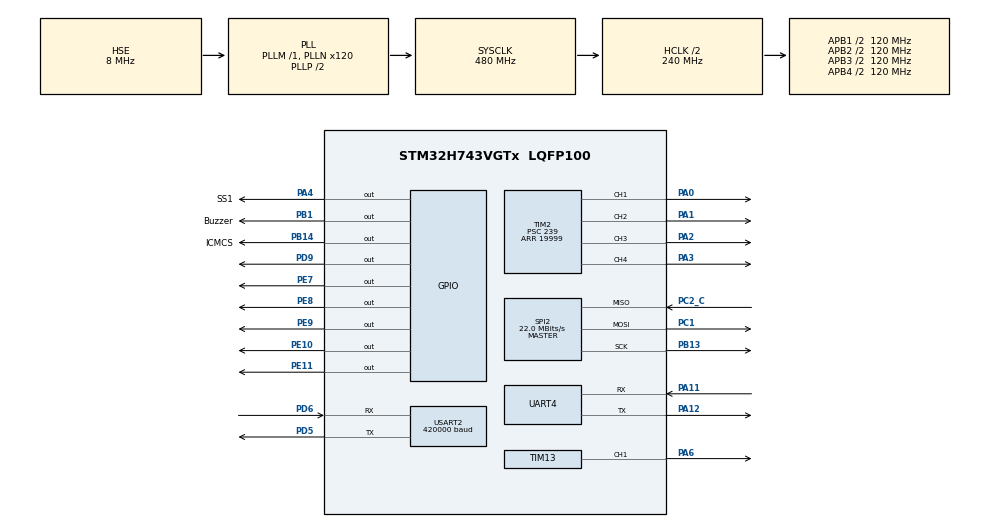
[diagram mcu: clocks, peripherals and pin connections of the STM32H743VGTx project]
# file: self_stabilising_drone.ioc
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CORTEX_M7.default_mode_Activation=1
Dma.Request0=USART2_RX
Dma.USART2_RX.0.Direction=DMA_PERIPH_TO_MEMORY
Dma.USART2_RX.0.EventEnable=DISABLE
Dma.USART2_RX.0.FIFOMode=DMA_FIFOMODE_DISABLE
Dma.USART2_RX.0.Instance=DMA1_Stream0
Dma.USART2_RX.0.MemDataAlignment=DMA_MDATAALIGN_BYTE
Dma.USART2_RX.0.MemInc=DMA_MINC_ENABLE
Dma.USART2_RX.0.Mode=DMA_CIRCULAR
Dma.USART2_RX.0.PeriphDataAlignment=DMA_PDATAALIGN_BYTE
Dma.USART2_RX.0.PeriphInc=DMA_PINC_DISABLE
Dma.USART2_RX.0.Polarity=HAL_DMAMUX_REQ_GEN_RISING
Dma.USART2_RX.0.Priority=DMA_PRIORITY_MEDIUM
Dma.USART2_RX.0.RequestNumber=1
Dma.USART2_RX.0.SignalID=NONE
Dma.USART2_RX.0.SyncEnable=DISABLE
Dma.USART2_RX.0.SyncPolarity=HAL_DMAMUX_SYNC_NO_EVENT
Dma.USART2_RX.0.SyncRequestNumber=1
Dma.USART2_RX.0.SyncSignalID=NONE
Mcu.Family=STM32H7
Mcu.Name=STM32H743VGTx
Mcu.Package=LQFP100
NVIC.DMA1_Stream0_IRQn=true\:0\:0\:false\:false\:true\:false\:true\:true
NVIC.PriorityGroup=NVIC_PRIORITYGROUP_4
NVIC.TIM17_IRQn=true\:15\:0\:false\:false\:true\:false\:true\:true
NVIC.TimeBase=TIM17_IRQn
NVIC.TimeBaseIP=TIM17
NVIC.USART2_IRQn=true\:0\:0\:false\:false\:true\:true\:true\:true
PA0.Signal=S_TIM2_CH1_ETR
PA1.Signal=S_TIM2_CH2
PA11.Mode=Asynchronous
PA11.Signal=UART4_RX
PA12.Mode=Asynchronous
PA12.Signal=UART4_TX
PA13\ (JTMS/SWDIO).Mode=Serial_Wire
PA13\ (JTMS/SWDIO).Signal=DEBUG_JTMS-SWDIO
PA14\ (JTCK/SWCLK).Mode=Serial_Wire
PA14\ (JTCK/SWCLK).Signal=DEBUG_JTCK-SWCLK
PA2.Signal=S_TIM2_CH3
PA3.Signal=S_TIM2_CH4
PA4.GPIO_Label=SS1
PA4.Signal=GPIO_Output
PA6.Signal=S_TIM13_CH1
PB1.GPIO_Label=Buzzer
PB1.Signal=GPIO_Output
PB13.Mode=Full_Duplex_Master
PB13.Signal=SPI2_SCK
PB14.GPIO_Label=ICMCS
PB14.Signal=GPIO_Output
PC1.Mode=Full_Duplex_Master
PC1.Signal=SPI2_MOSI
PC14-OSC32_IN\ (OSC32_IN).Mode=LSE-External-Oscillator
PC14-OSC32_IN\ (OSC32_IN).Signal=RCC_OSC32_IN
PC15-OSC32_OUT\ (OSC32_OUT).Mode=LSE-External-Oscillator
PC15-OSC32_OUT\ (OSC32_OUT).Signal=RCC_OSC32_OUT
PC2_C.Mode=Full_Duplex_Master
PC2_C.Signal=SPI2_MISO
PC7.Mode=External_Trigger_bidirectional
PC7.Signal=DEBUG_TRGIO
PD5.Mode=Asynchronous
PD5.Signal=USART2_TX
PD6.Mode=Asynchronous
PD6.Signal=USART2_RX
PD7.Signal=SPI1_MOSI
PD9.Signal=GPIO_Output
PE10.Signal=GPIO_Output
PE11.Signal=GPIO_Output
PE7.Signal=GPIO_Output
PE8.Signal=GPIO_Output
PE9.Signal=GPIO_Output
PH0-OSC_IN\ (PH0).Mode=HSE-External-Oscillator
PH0-OSC_IN\ (PH0).Signal=RCC_OSC_IN
PH1-OSC_OUT\ (PH1).Mode=HSE-External-Oscillator
PH1-OSC_OUT\ (PH1).Signal=RCC_OSC_OUT
ProjectManager.HeapSize=0x200
ProjectManager.StackSize=0x400
ProjectManager.TargetToolchain=STM32CubeIDE
RCC.ADCFreq_Value=176000000
RCC.APB1Freq_Value=120000000
RCC.APB2Freq_Value=120000000
RCC.APB3Freq_Value=120000000
RCC.APB4Freq_Value=120000000
RCC.CortexFreq_Value=480000000
RCC.D1PPRE=RCC_APB3_DIV2
RCC.D2PPRE1=RCC_APB1_DIV2
RCC.D2PPRE2=RCC_APB2_DIV2
RCC.D3PPRE=RCC_APB4_DIV2
RCC.DIVM1=1
RCC.DIVM2=1
RCC.DIVN1=120
RCC.DIVN2=22
RCC.DIVP2=1
RCC.HCLKFreq_Value=240000000
RCC.HPRE=RCC_HCLK_DIV2
RCC.HSE_VALUE=8000000
RCC.PLL1_VCI_Range-AdvancedSettings=RCC_PLL1VCIRANGE_0
RCC.PLL2FRACN=0
RCC.PLL3FRACN=0
RCC.PLLFRACN=0
RCC.PLLSourceVirtual=RCC_PLLSOURCE_HSE
RCC.PWR_Regulator_Voltage_Scale=PWR_REGULATOR_VOLTAGE_SCALE0
RCC.ProductRev=revV
RCC.SPI123CLockSelection=RCC_SPI123CLKSOURCE_PLL2
RCC.SYSCLKFreq_VALUE=480000000
RCC.SYSCLKSource=RCC_SYSCLKSOURCE_PLLCLK
RCC.USBFreq_Value=480000000
SH.S_TIM13_CH1.0=TIM13_CH1,PWM Generation1 CH1
SH.S_TIM2_CH1_ETR.0=TIM2_CH1,PWM Generation1 CH1
SH.S_TIM2_CH2.0=TIM2_CH2,PWM Generation2 CH2
SH.S_TIM2_CH3.0=TIM2_CH3,PWM Generation3 CH3
SH.S_TIM2_CH4.0=TIM2_CH4,PWM Generation4 CH4
SPI2.BaudRatePrescaler=SPI_BAUDRATEPRESCALER_8
SPI2.CLKPhase=SPI_PHASE_1EDGE
SPI2.CLKPolarity=SPI_POLARITY_LOW
SPI2.CalculateBaudRate=22.0 MBits/s
SPI2.DataSize=SPI_DATASIZE_8BIT
SPI2.Direction=SPI_DIRECTION_2LINES
SPI2.Mode=SPI_MODE_MASTER
SPI2.VirtualType=VM_MASTER
TIM13.Channel=TIM_CHANNEL_1
TIM2.AutoReloadPreload=TIM_AUTORELOAD_PRELOAD_ENABLE
TIM2.Channel-PWM\ Generation1\ CH1=TIM_CHANNEL_1
TIM2.Channel-PWM\ Generation2\ CH2=TIM_CHANNEL_2
TIM2.Channel-PWM\ Generation3\ CH3=TIM_CHANNEL_3
TIM2.Channel-PWM\ Generation4\ CH4=TIM_CHANNEL_4
TIM2.Period=19999
TIM2.Prescaler=239
TIM5.Period=40000
TIM5.Prescaler=240-1
USART2.BaudRate=420000
USART2.VirtualMode-Asynchronous=VM_ASYNC
VP_MEMORYMAP_VS_MEMORYMAP.Mode=CurAppReg
VP_SYS_VS_tim17.Mode=TIM17
VP_TIM13_VS_ClockSourceINT.Mode=Enable_Timer
VP_TIM2_VS_ClockSourceINT.Mode=Internal
VP_TIM5_VS_ClockSourceINT.Mode=Internal
VP_TIM7_VS_ClockSourceINT.Mode=Enable_Timer
board=custom

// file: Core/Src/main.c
/* USER CODE BEGIN Header */
/**
 ******************************************************************************
 * @file           : main.c
 * @brief          : Main program body
 ******************************************************************************
 * @attention
 *
 * Copyright (c) 2025 STMicroelectronics.
 * All rights reserved.
 *
 * This software is licensed under terms that can be found in the LICENSE file
 * in the root directory of this software component.
 * If no LICENSE file comes with this software, it is provided AS-IS.
 *
 ******************************************************************************
 */
/* USER CODE END Header */
#include "main.h"
#include "dma.h"
#include "spi.h"
#include "tim.h"
#include "usart.h"
#include "gpio.h"

/* USER CODE BEGIN Includes */
#include <stdio.h>
#include <string.h>
#include <stdint.h>

#include "filter.h"
#include "crsf.h"
#include "pid.h"
/* USER CODE END Includes */

/* USER CODE BEGIN PD */
#define DT_FALLBACK_SECONDS           0.004f
#define DT_MAX_SECONDS                0.02f
#define THROTTLE_ACTIVE_THRESHOLD_US  1050.0f
#define ARM_CHANNEL                   4        // CRSF channel 5 (0-based index)
#define LOOP_PERIOD_US                2000U    // 500 Hz
#define LOOP_DT_SECONDS 			  (LOOP_PERIOD_US * 1e-6f)
#define ESC_LOW                       1000U
#define ESC_HIGH                      2000U
#define CRSF_TIMEOUT_MS   			  500

#define MAX_RATE_DPS 500.0f
/* USER CODE END PD */

/* USER CODE BEGIN PV */
CRSF_t crsf;
uint8_t rxBuf[128];
icm_scaled_t imu;

PID_t pid_roll = { .kp = 0.1f, .ki = 0.06f, .kd = 0.005f, .integrator = 0.0f,
		.prev_error = 0.0f, .d_filter = 0.0f, .d_cutoff = 0.05f, // Low-pass smoothing factor (~50Hz)
		.out_limit = 400.0f, .i_limit = 200.0f };

PID_t pid_pitch = { .kp = 0.1f, .ki = 0.06f, .kd = 0.005f, .integrator = 0.0f,
		.prev_error = 0.0f, .d_filter = 0.0f, .d_cutoff = 0.05f, .out_limit =
				400.0f, .i_limit = 200.0f };

PID_t pid_yaw = { .kp = 0.05f, .ki = 0.01f, .kd = 0.0f, .integrator = 0.0f,
		.prev_error = 0.0f, .d_filter = 0.0f, .d_cutoff = 0.05f, .out_limit =
				400.0f, .i_limit = 200.0f };

static float gx_f = 0;
static float gy_f = 0;
static float gz_f = 0;
const float alpha = 0.25f;

uint16_t m11 = 0;
uint16_t m12 = 0;
uint16_t m13 = 0;
uint16_t m14 = 0;

/* USER CODE END PV */

void SystemClock_Config(void);
static void MPU_Config(void);

/* USER CODE BEGIN 0 */

static inline void DWT_Init(void) {
	CoreDebug->DEMCR |= CoreDebug_DEMCR_TRCENA_Msk;
	DWT->CYCCNT = 0;
	DWT->CTRL |= DWT_CTRL_CYCCNTENA_Msk;
}
static inline uint32_t micros(void) {
	return DWT->CYCCNT / (SystemCoreClock / 1000000U);
}

//static float compute_dt_seconds(uint32_t now_us, uint32_t last_us) {
//	uint32_t delta =
//			(now_us >= last_us) ?
//					(now_us - last_us) : ((0xFFFFFFFFU - last_us) + now_us);
//	float dt = (float) delta / 1e6f;
//	if (dt > DT_MAX_SECONDS)
//		dt = DT_MAX_SECONDS;
//	else if (dt < 0.001f)
//		dt = DT_FALLBACK_SECONDS;
//	return dt;
//}

void print(const char *s) {
	HAL_UART_Transmit(&huart4, (uint8_t*) s, strlen(s), HAL_MAX_DELAY);
}
//
//void print_icm_data(icm_scaled_t *data) {
//	char buf[128];
//	snprintf(buf, sizeof(buf), "AX:%6d AY:%6d AZ:%6d mg | "
//			"GX:%6d GY:%6d GZ:%6d mdps | "
//			"TEMP:%3d C\r\n", (int) (data->ax * 1000), (int) (data->ay * 1000),
//			(int) (data->az * 1000), (int) (data->gx * 1000),
//			(int) (data->gy * 1000), (int) (data->gz * 1000),
//			(int) (data->temp));
//	print(buf);
//}
//
//void print_att(attitude_t *att) {
//	char buf[128];
//	snprintf(buf, sizeof(buf), "Roll: %.2f Pitch: %.2f\r\n",
//			att->roll * 57.2958f, att->pitch * 57.2958f);
//
//	print(buf);
//}

void ESC_Write_us(TIM_HandleTypeDef *htim, uint32_t channel, uint16_t us) {
	__HAL_TIM_SET_COMPARE(htim, channel, us);
}

static float rc_to_rate(uint16_t ch) {
	float x = (float) ch - 1500.0f;  // -500..+500
	// deadband
	if (x > -5.0f && x < 5.0f)
		x = 0.0f;
	// map -500..+500 -> -1..+1
	float norm = x / 500.0f;
	if (norm > 1.0f)
		norm = 1.0f;
	if (norm < -1.0f)
		norm = -1.0f;
	return norm * MAX_RATE_DPS; // deg/s
}

static void idle_all(void) {
	ESC_Write_us(&htim2, TIM_CHANNEL_1, 1000);
	ESC_Write_us(&htim2, TIM_CHANNEL_2, 1000);
	ESC_Write_us(&htim2, TIM_CHANNEL_3, 1000);
	ESC_Write_us(&htim2, TIM_CHANNEL_4, 1000);
}

/* USER CODE END 0 */

int main(void) {

	/* MPU Configuration--------------------------------------------------------*/
	MPU_Config();

	/* MCU Configuration--------------------------------------------------------*/

	/* Reset of all peripherals, Initializes the Flash interface and the Systick. */
	HAL_Init();

	/* USER CODE BEGIN Init */
	DWT_Init();
	/* USER CODE END Init */

	/* Configure the system clock */
	SystemClock_Config();

	/* Initialize all configured peripherals */
	MX_GPIO_Init();
	MX_DMA_Init();
	MX_TIM2_Init();
	MX_TIM13_Init();
	MX_TIM7_Init();
	MX_TIM5_Init();
	MX_UART4_Init();
	MX_USART2_UART_Init();
	MX_SPI2_Init();
	/* USER CODE BEGIN 2 */

	CRSF_Init(&crsf);  // <- sets neutral channels, clears state, valid=false
	HAL_UARTEx_ReceiveToIdle_DMA(&huart2, rxBuf, sizeof(rxBuf));
	__HAL_DMA_DISABLE_IT(huart2.hdmarx, DMA_IT_HT);
//
	HAL_TIM_PWM_Start(&htim2, TIM_CHANNEL_1); // M1
	HAL_TIM_PWM_Start(&htim2, TIM_CHANNEL_2); // M2
	HAL_TIM_PWM_Start(&htim2, TIM_CHANNEL_3); // M3
	HAL_TIM_PWM_Start(&htim2, TIM_CHANNEL_4); // M4

	/* IMU init */
	if (ICM_init(&hspi2, &imu)) {
		Error_Handler();
	}

	HAL_GPIO_WritePin(GPIOE, GPIO_PIN_7, GPIO_PIN_SET); // status LED1

	float roll_input = 0;
	float pitch_input = 0;
	float yaw_input = 0;
	float throttle = 1000;

	float roll_error = 0, pitch_error = 0, yaw_error = 0;
	float roll_output = 0, pitch_output = 0, yaw_output = 0;

	int armed = 0;

	PID_Reset(&pid_roll);
	PID_Reset(&pid_pitch);
	PID_Reset(&pid_yaw);
	/* USER CODE END 2 */

	/* Infinite loop */
	/* USER CODE BEGIN WHILE */

	HAL_Delay(500); // let IMU settle
	for (int i = 0; i < 500; i++) {
		ICM_read_all(&hspi2, &imu);
		gx_f += alpha * (imu.gx - gx_f);
		gy_f += alpha * (imu.gy - gy_f);
		gz_f += alpha * (imu.gz - gz_f);
		HAL_Delay(1);
	}

	const float dt = LOOP_DT_SECONDS;
	HAL_GPIO_WritePin(GPIOE, GPIO_PIN_8, GPIO_PIN_SET); // status LED2

	while (1) {
		/* USER CODE END WHILE */

		/* USER CODE BEGIN 3 */
		uint32_t loop_start = micros();
		// Reading RC INPUT
		const CRSF_Data_t *rc = CRSF_GetData(&crsf);

//		if ((HAL_GetTick() - rc->lastUpdate) > CRSF_TIMEOUT_MS) {
//			armed = 0;
//			roll_input = 0;
//			pitch_input = 0;
//			yaw_input = 0;
//			throttle = 1000;
//			PID_Reset(&pid_roll);
//			PID_Reset(&pid_pitch);
//			PID_Reset(&pid_yaw);
//			idle_all();
//			continue;
//		}
		if (rc->valid) {
			roll_input = rc_to_rate(rc->channels[0]);
			pitch_input = rc_to_rate(rc->channels[1]);
			yaw_input = rc_to_rate(rc->channels[3]);

			throttle = (float) rc->channels[2];
			if (throttle < 1050.0f) {
				throttle = 1050.0f;
			}

			if (rc->channels[4] > 1500 && throttle < 1100) {
				armed = 1;
			} else if (rc->channels[4] < 1500) {
				armed = 0;
			}
		} else {
			roll_input = 0;
			pitch_input = 0;
			yaw_input = 0;
			throttle = 1050;
		}

//		if (!armed) {
//			PID_Reset(&pid_roll);
//			PID_Reset(&pid_pitch);
//			PID_Reset(&pid_yaw);
//			idle_all();
//			continue;
//		}

		// Reading and filtering GYRO Data.
		ICM_read_all(&hspi2, &imu);
		gx_f += alpha * (imu.gx - gx_f);
		gy_f += alpha * (imu.gy - gy_f);
		gz_f += alpha * (imu.gz - gz_f);

		roll_error = roll_input - gx_f;
		pitch_error = pitch_input - gy_f;
		yaw_error = yaw_input - gz_f;

		roll_output = PID_Update(&pid_roll, roll_error, dt);
		pitch_output = PID_Update(&pid_pitch, pitch_error, dt);
		yaw_output = PID_Update(&pid_yaw, yaw_error, dt);

		float m1 = throttle + roll_output + pitch_output - yaw_output; // Front Right (CW)
		float m2 = throttle + roll_output - pitch_output + yaw_output; // Rear Right (CCW)
		float m3 = throttle - roll_output - pitch_output - yaw_output; // Rear Left  (CW)
		float m4 = throttle - roll_output + pitch_output + yaw_output; // Front Left (CCW)

		float maxMotor = fmaxf(fmaxf(m1, m2), fmaxf(m3, m4));
		float minMotor = fminf(fminf(m1, m2), fminf(m3, m4));

		float range = maxMotor - minMotor;

		// Prevent divide-by-zero (or extremely small range)
		if (fabsf(range) > 1e-6f) {
			if (maxMotor > ESC_HIGH) {
				float scale = (ESC_HIGH - minMotor) / range;
				m1 = (m1 - minMotor) * scale + minMotor;
				m2 = (m2 - minMotor) * scale + minMotor;
				m3 = (m3 - minMotor) * scale + minMotor;
				m4 = (m4 - minMotor) * scale + minMotor;
			} else if (minMotor < ESC_LOW) {
				float scale = (maxMotor - ESC_LOW) / range;
				m1 = (m1 - maxMotor) * scale + maxMotor;
				m2 = (m2 - maxMotor) * scale + maxMotor;
				m3 = (m3 - maxMotor) * scale + maxMotor;
				m4 = (m4 - maxMotor) * scale + maxMotor;
			}
		}

		m11 = (uint16_t) m1;
		if (m11 < 1025) {
			m11 = 1025;
		} else if (m11 > ESC_HIGH) {
			m11 = ESC_HIGH;
		}

		m12 = (uint16_t) m2;
		if (m12 < 1025) {
			m12 = 1025;
		} else if (m12 > ESC_HIGH) {
			m12 = ESC_HIGH;
		}

		m13 = (uint16_t) m3;
		if (m13 < 1025) {
			m13 = 1025;
		} else if (m13 > ESC_HIGH) {
			m13 = ESC_HIGH;
		}

		m14 = (uint16_t) m1;
		if (m14 < 1025) {
			m14 = 1025;
		} else if (m14 > ESC_HIGH) {
			m14 = ESC_HIGH;
		}

		ESC_Write_us(&htim2, TIM_CHANNEL_1, (uint16_t) m11); // M1: Front Right
		ESC_Write_us(&htim2, TIM_CHANNEL_2, (uint16_t) m12); // M2: Rear Right
		ESC_Write_us(&htim2, TIM_CHANNEL_3, (uint16_t) m13); // M3: Rear Left
		ESC_Write_us(&htim2, TIM_CHANNEL_4, (uint16_t) m14); // M4: Front Left

		while ((micros() - loop_start) < LOOP_PERIOD_US) {
			__NOP(); // wait until 2 ms passed
		}

	}
	/* USER CODE END 3 */
}

void SystemClock_Config(void) {
	RCC_OscInitTypeDef RCC_OscInitStruct = { 0 };
	RCC_ClkInitTypeDef RCC_ClkInitStruct = { 0 };

	/** Supply configuration update enable
	 */
	HAL_PWREx_ConfigSupply(PWR_LDO_SUPPLY);

	/** Configure the main internal regulator output voltage
	 */
	__HAL_PWR_VOLTAGESCALING_CONFIG(PWR_REGULATOR_VOLTAGE_SCALE0);

	while (!__HAL_PWR_GET_FLAG(PWR_FLAG_VOSRDY)) {
	}

	/** Initializes the RCC Oscillators according to the specified parameters
	 * in the RCC_OscInitTypeDef structure.
	 */
	RCC_OscInitStruct.OscillatorType = RCC_OSCILLATORTYPE_HSE;
	RCC_OscInitStruct.HSEState = RCC_HSE_ON;
	RCC_OscInitStruct.PLL.PLLState = RCC_PLL_ON;
	RCC_OscInitStruct.PLL.PLLSource = RCC_PLLSOURCE_HSE;
	RCC_OscInitStruct.PLL.PLLM = 1;
	RCC_OscInitStruct.PLL.PLLN = 120;
	RCC_OscInitStruct.PLL.PLLP = 2;
	RCC_OscInitStruct.PLL.PLLQ = 2;
	RCC_OscInitStruct.PLL.PLLR = 2;
	RCC_OscInitStruct.PLL.PLLRGE = RCC_PLL1VCIRANGE_3;
	RCC_OscInitStruct.PLL.PLLVCOSEL = RCC_PLL1VCOWIDE;
	RCC_OscInitStruct.PLL.PLLFRACN = 0;
	if (HAL_RCC_OscConfig(&RCC_OscInitStruct) != HAL_OK) {
		Error_Handler();
	}

	/** Initializes the CPU, AHB and APB buses clocks
	 */
	RCC_ClkInitStruct.ClockType = RCC_CLOCKTYPE_HCLK | RCC_CLOCKTYPE_SYSCLK
			| RCC_CLOCKTYPE_PCLK1 | RCC_CLOCKTYPE_PCLK2 | RCC_CLOCKTYPE_D3PCLK1
			| RCC_CLOCKTYPE_D1PCLK1;
	RCC_ClkInitStruct.SYSCLKSource = RCC_SYSCLKSOURCE_PLLCLK;
	RCC_ClkInitStruct.SYSCLKDivider = RCC_SYSCLK_DIV1;
	RCC_ClkInitStruct.AHBCLKDivider = RCC_HCLK_DIV2;
	RCC_ClkInitStruct.APB3CLKDivider = RCC_APB3_DIV2;
	RCC_ClkInitStruct.APB1CLKDivider = RCC_APB1_DIV2;
	RCC_ClkInitStruct.APB2CLKDivider = RCC_APB2_DIV2;
	RCC_ClkInitStruct.APB4CLKDivider = RCC_APB4_DIV2;

	if (HAL_RCC_ClockConfig(&RCC_ClkInitStruct, FLASH_LATENCY_4) != HAL_OK) {
		Error_Handler();
	}
}

/* USER CODE BEGIN 4 */
void HAL_UARTEx_RxEventCallback(UART_HandleTypeDef *huart, uint16_t Size) {
	if (huart->Instance == USART2) {
		uint32_t now = HAL_GetTick();  // pass current time in ms

		for (uint16_t i = 0; i < Size; i++) {
			CRSF_ParseByte(&crsf, rxBuf[i], now);
		}

		// Re-arm reception
		HAL_UARTEx_ReceiveToIdle_DMA(&huart2, rxBuf, sizeof(rxBuf));
		__HAL_DMA_DISABLE_IT(huart2.hdmarx, DMA_IT_HT);
	}
}

void HAL_UART_ErrorCallback(UART_HandleTypeDef *huart) {
	if (huart->Instance == USART2) {
		// Clear typical error flags
		__HAL_UART_CLEAR_OREFLAG(huart);
		__HAL_UART_CLEAR_FEFLAG(huart);
		__HAL_UART_CLEAR_NEFLAG(huart);
		// Re-arm reception
		HAL_UARTEx_ReceiveToIdle_DMA(&huart2, rxBuf, sizeof(rxBuf));
		__HAL_DMA_DISABLE_IT(huart2.hdmarx, DMA_IT_HT);
	}
}
/* USER CODE END 4 */

/* MPU Configuration */

void MPU_Config(void) {
	MPU_Region_InitTypeDef MPU_InitStruct = { 0 };

	/* Disables the MPU */
	HAL_MPU_Disable();

	/** Initializes and configures the Region and the memory to be protected
	 */
	MPU_InitStruct.Enable = MPU_REGION_ENABLE;
	MPU_InitStruct.Number = MPU_REGION_NUMBER0;
	MPU_InitStruct.BaseAddress = 0x0;
	MPU_InitStruct.Size = MPU_REGION_SIZE_4GB;
	MPU_InitStruct.SubRegionDisable = 0x87;
	MPU_InitStruct.TypeExtField = MPU_TEX_LEVEL0;
	MPU_InitStruct.AccessPermission = MPU_REGION_NO_ACCESS;
	MPU_InitStruct.DisableExec = MPU_INSTRUCTION_ACCESS_DISABLE;
	MPU_InitStruct.IsShareable = MPU_ACCESS_SHAREABLE;
	MPU_InitStruct.IsCacheable = MPU_ACCESS_NOT_CACHEABLE;
	MPU_InitStruct.IsBufferable = MPU_ACCESS_NOT_BUFFERABLE;

	HAL_MPU_ConfigRegion(&MPU_InitStruct);
	/* Enables the MPU */
	HAL_MPU_Enable(MPU_PRIVILEGED_DEFAULT);

}

void HAL_TIM_PeriodElapsedCallback(TIM_HandleTypeDef *htim) {
	if (htim->Instance == TIM17) {
		HAL_IncTick();
	}
}

void Error_Handler(void) {
	__disable_irq();
	while (1) {
	}
}
